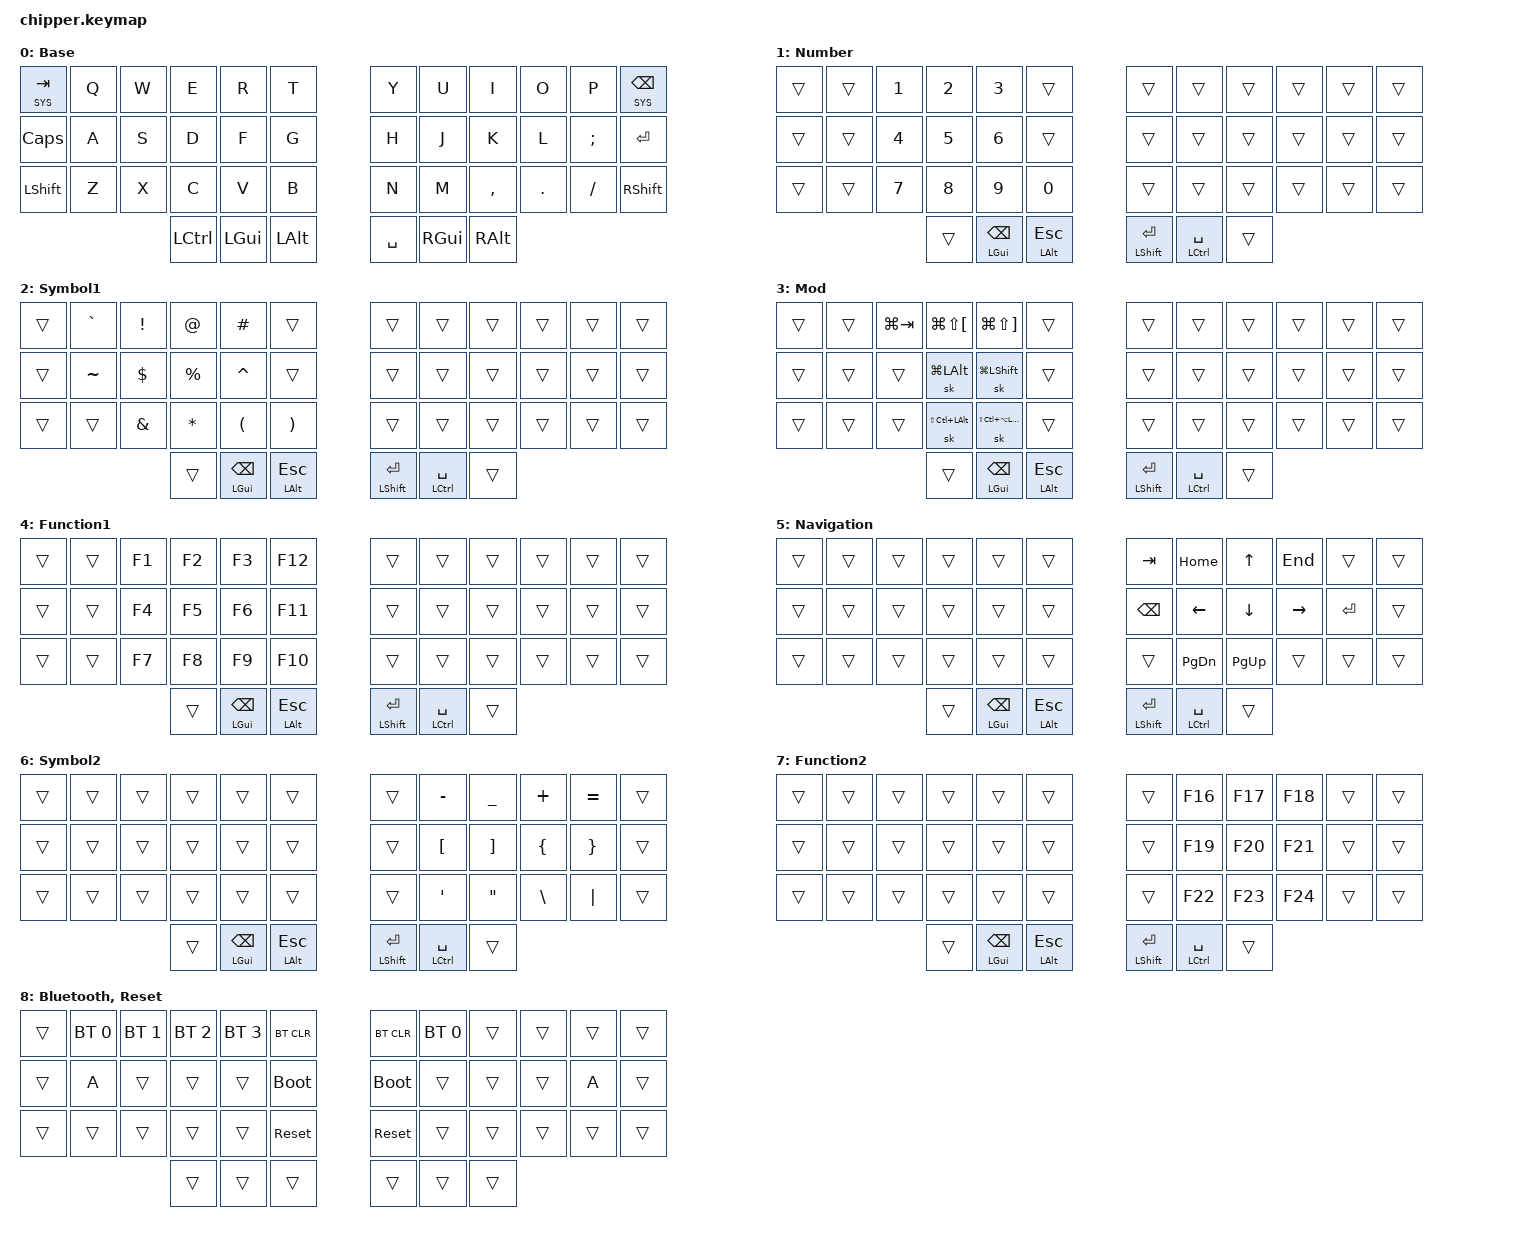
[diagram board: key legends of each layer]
#include <behaviors.dtsi>
#include <dt-bindings/zmk/keys.h>
#include <dt-bindings/zmk/bt.h>
#include <dt-bindings/zmk/outputs.h>

#define XXX &none
#define ___ &trans

#define COMBO_TIMEOUT 60

#define DEF 0
#define NUM 1
#define SYM1 2
#define MOD 3
#define FN1 4
#define NAV 5
#define SYM2 6
#define FN2 7
#define SYS 8

/ {
    macros {
	nayeon: nayeon {
            compatible = "zmk,behavior-macro";
            #binding-cells = <0>;
            bindings
                = <&macro_tap_time 10>
		,<&macro_tap &kp N &kp A &kp Y &kp E &kp O &kp N &kp RET>;
        };
    };
};

/ {
    combos {
        compatible = "zmk,combos";
	 combo_cw {
            timeout-ms = <COMBO_TIMEOUT>;
            key-positions = <6 30>;
            bindings = <&nayeon>;
        };
    };
};

/ {
        bht: balanced_hold_taps {
            compatible = "zmk,behavior-hold-tap";
            #binding-cells = <2>;
            tapping-term-ms = <280>;    // <---[[moderate duration]]
            flavor = "balanced";
            bindings = <&kp>, <&kp>;
            quick-tap-ms = <175>;       // repeat on tap-into-hold
            require-prior-idle-ms = <150>;
        };
    };
/ {
    conditional_layers {
        compatible = "zmk,conditional-layers";
        tri_layer {
            if-layers = <1 5>;
            then-layer = <100>;
        };
    };
};

/ {
        keymap {
                compatible = "zmk,keymap";

                DEF_layer {
                        display-name = "Base";
                        bindings = <
            //╭──────╮ ╭─────────────┬─────────────┬─────────────┬─────────────┬─────────────╮   ╭─────────────┬─────────────┬─────────────┬─────────────┬─────────────╮ ╭──────╮
           &lt SYS TAB     &kp Q         &kp W          &kp E         &kp R         &kp T             &kp Y         &kp U        &kp I         &kp O          &kp P      &lt SYS BSPC
            //├──────┤ ├─────────────┼─────────────┼─────────────┼─────────────┼─────────────┤   ├─────────────┼─────────────┼─────────────┼─────────────┼─────────────┤ ├──────┤
             &kp CAPS      &kp A         &kp S          &kp D         &kp F         &kp G             &kp H         &kp J        &kp K         &kp L        &kp SEMI     &kp RET
            //├──────┤ ├─────────────┼─────────────┼─────────────┼─────────────┼─────────────┤   ├─────────────┼─────────────┼─────────────┼─────────────┼────;/:──────┤ ├──────┤
             &kp LSHFT     &kp Z         &kp X          &kp C         &kp V         &kp B             &kp N         &kp M        &kp COMMA     &kp DOT       &kp FSLH    &kp RSHFT
            //├──────┤ ╰─────────────┼─────────────┴─────────────┼─────────────┼─────────────┤   ├─────────────┼─────────────┼─────,/<─────┴──────./>─────────//?──────╯ ├──────┤
                                                     &kp LCTRL        &kp LGUI     &kp LALT          &kp SPC       &kp RGUI      &kp RALT
             //                                    ╰─────────────┼─────────────┴─────────────╯   ╰─────────────┴─────────────┼─────────────╯
                        >;
                };

//                 DEF_layer {
//                         display-name = "Base";
//                         bindings = <
//             //╭──────╮ ╭─────────────┬─────────────┬─────────────┬─────────────┬─────────────╮   ╭─────────────┬─────────────┬─────────────┬─────────────┬─────────────╮ ╭──────╮
// &bht LS(LC(LALT)) ESC      &kp Q         &kp W          &kp E         &kp R         &kp T             &kp Y         &kp U        &kp I         &kp O        &lt SYS P     &kp DEL
//             //├──────┤ ├─────────────┼─────────────┼─────────────┼─────────────┼─────────────┤   ├─────────────┼─────────────┼─────────────┼─────────────┼─────────────┤ ├──────┤
// &bht LS(LC(LA(LGUI))) TAB &bht LG(A) A   &lt FN2 S     &lt SYM2 D    &lt NAV F      &kp G             &kp H        &lt NUM J    &lt SYM1 K    &lt MOD L    &lt FN1 SEMI  &kp LG(TAB)
//             //├──────┤ ├─────────────┼─────────────┼─────────────┼─────────────┼─────────────┤   ├─────────────┼─────────────┼─────────────┼─────────────┼────;/:──────┤ ├──────┤
// &bht LS(LA(LGUI)) BSPC    &lt SYS Z      &bht LG(X) X  &bht LG(C) C  &bht LG(V) V   &kp B             &kp N         &kp M        &kp COMMA      &kp DOT     &kp FSLH      &kp LC(TAB)
//             //├──────┤ ╰─────────────┼─────────────┴─────────────┼─────────────┼─────────────┤   ├─────────────┼─────────────┼─────,/<─────┴──────./>─────────//?──────╯ ├──────┤
//                                                          ___     &bht LGUI BSPC &bht LALT ESC    &bht LSHFT RET &bht LCTRL SPC      ___
//              //                                    ╰─────────────┼─────────────┴─────────────╯   ╰─────────────┴─────────────┼─────────────╯
//                         >;
//                 };

                NUM_layer {
                        display-name = "Number";
                        bindings = <
//╭──────╮ ╭─────────────┬─────────────┬─────────────┬─────────────┬─────────────╮ ╭─────────────┬─────────────┬─────────────┬─────────────┬─────────────╮ ╭──────╮
    ___          ___        &kp N1        &kp N2        &kp N3          ___            ___         ___           ___           ___          ___              ___
//├──────┤ ├─────────────┼─────────────┼─────────────┼─────────────┼─────────────┤ ├─────────────┼─────────────┼─────────────┼─────────────┼─────────────┤ ├──────┤
    ___          ___        &kp N4        &kp N5        &kp N6          ___            ___         ___           ___           ___          ___              ___
//├──────┤ ├─────────────┼─────────────┼─────────────┼─────────────┼─────────────┤ ├─────────────┼─────────────┼─────────────┼─────────────┼─────────────┤ ├──────┤
    ___          ___        &kp N7        &kp N8        &kp N9         &kp N0         ___         ___           ___           ___          ___              ___
//├──────┤ ├─────────────┼─────────────┼─────────────┴───────────────────────────╯ ╰─────────────┼─────────────┴─────────────┼─────────────┼─────────────┤ ├──────┤
                                             ___     &bht LGUI BSPC &bht LALT ESC    &bht LSHFT RET &bht LCTRL SPC      ___
//                                     ╰─────────────┴─────────────┴─────────────╯ ╰──────────────┴──────────────┼─────────────╯                                     
                        >;
		};


		        SYM1_layer {
                        display-name = "Symbol1";
                        bindings = <
//╭──────╮ ╭─────────────┬─────────────┬─────────────┬─────────────┬─────────────╮ ╭──────────────┬──────────────┬─────────────┬─────────────┬─────────────╮ ╭──────╮           
    ___       &kp GRAVE      &kp EXCL      &kp AT        &kp HASH        ___             ___            ___            ___           ___          ___          ___              
//├──────┤ ├─────`───────┼─────!───────┼──────@──────┼──────#──────┼─────────────┤ ├──────────────┼──────────────┼─────────────┼─────────────┼─────────────┤ ├──────┤           
    ___       &kp TILDE      &kp DLLR      &kp PRCNT     &kp CARET       ___             ___            ___            ___           ___          ___          ___              
//├──────┤ ├─────~───────┼─────$───────┼─────%───────┼──────^──────┼─────────────┤ ├──────────────┼──────────────┼─────────────┼─────────────┼─────────────┤ ├──────┤           
    ___         ___          &kp AMPS      &kp STAR      &kp LPAR      &kp RPAR          ___            ___            ___           ___          ___          ___              
//├──────┤ ╰─────────────┼─────&───────┴─────*───────┼──────(──────┼──────)──────┤ ├──────────────┼──────────────┼─────────────┼─────────────┼─────────────╯ ╰──────╯           
                                             ___     &bht LGUI BSPC &bht LALT ESC    &bht LSHFT RET &bht LCTRL SPC      ___
//                                     ╰─────────────┴─────────────┴─────────────╯ ╰──────────────┴──────────────┼─────────────╯                                     
                        >;
		};


		        MOD_layer {
                        display-name = "Mod";
                        bindings = <
//╭──────╮ ╭─────────────┬─────────────┬─────────────┬─────────────┬─────────────╮ ╭──────────────┬──────────────┬─────────────┬─────────────┬─────────────╮ ╭──────╮
    ___         ___      &kp LG(TAB) &kp LG(LS(LBKT)) &kp LG(LS(RBKT))   ___             ___            ___            ___           ___          ___          ___
//├──────┤ ├─────────────┼──swap win───┼───tab left──┼──tab right──┼─────────────┤ ├──────────────┼──────────────┼─────────────┼─────────────┼─────────────┤ ├──────┤
    ___         ___            ___      &sk LG(LALT)  &sk LG(LSHFT)      ___             ___            ___            ___           ___          ___          ___
//├──────┤ ├─────────────┼─────────────┼─────────────┼─────────────┼─────────────┤ ├──────────────┼──────────────┼─────────────┼─────────────┼─────────────┤ ├──────┤
    ___         ___          ___  &sk LS(LC(LALT)) &sk LS(LC(LA(LGUI)))  ___            ___            ___            ___           ___          ___          ___
//├──────┤ ╰─────────────┼─────────────┴─────────────┼─────────────┼─────────────┤ ├──────────────┼──────────────┼─────────────┼─────────────┼─────────────╯ ╰──────╯
                                             ___     &bht LGUI BSPC &bht LALT ESC    &bht LSHFT RET &bht LCTRL SPC      ___
//                                     ╰─────────────┴─────────────┴─────────────╯ ╰──────────────┴──────────────┼─────────────╯                                     
                        >;
		};


                FN1_layer {
                        display-name = "Function1";
                        bindings = <
//╭──────╮ ╭─────────────┬─────────────┬─────────────┬─────────────┬─────────────╮ ╭─────────────┬─────────────┬─────────────┬─────────────┬─────────────╮ ╭──────╮
    ___          ___        &kp F1        &kp F2        &kp F3         &kp F12         ___         ___           ___           ___          ___              ___
//├──────┤ ├─────────────┼─────────────┼─────────────┼─────────────┼─────────────┤ ├─────────────┼─────────────┼─────────────┼─────────────┼─────────────┤ ├──────┤
    ___          ___        &kp F4        &kp F5        &kp F6         &kp F11         ___         ___           ___           ___          ___              ___
//├──────┤ ├─────────────┼─────────────┼─────────────┼─────────────┼─────────────┤ ├─────────────┼─────────────┼─────────────┼─────────────┼─────────────┤ ├──────┤
    ___          ___        &kp F7        &kp F8        &kp F9         &kp F10         ___         ___           ___           ___          ___              ___
//├──────┤ ├─────────────┼─────────────┼─────────────┴───────────────────────────╯ ╰─────────────┼─────────────┴─────────────┼─────────────┼─────────────┤ ├──────┤
                                             ___     &bht LGUI BSPC &bht LALT ESC    &bht LSHFT RET &bht LCTRL SPC      ___
//                                     ╰─────────────┴─────────────┴─────────────╯ ╰──────────────┴──────────────┼─────────────╯                                     
                        >;
		};


		        NAV_layer {
                        display-name = "Navigation";
                        bindings = <
//╭──────╮ ╭─────────────┬─────────────┬─────────────┬─────────────┬─────────────╮ ╭──────────────┬──────────────┬─────────────┬─────────────┬─────────────╮ ╭──────╮
    ___         ___           ___           ___           ___            ___           &kp TAB       &kp HOME       &kp UP         &kp END        ___          ___
//├──────┤ ├─────────────┼─────────────┼─────────────┼─────────────┼─────────────┤ ├──────────────┼──────────────┼─────────────┼─────────────┼─────────────┤ ├──────┤
    ___         ___           ___           ___           ___            ___           &kp BSPC      &kp LEFT       &kp DOWN       &kp RIGHT    &kp RET        ___
//├──────┤ ├─────────────┼─────────────┼─────────────┼─────────────┼─────────────┤ ├──────────────┼──────────────┼─────────────┼─────────────┼─────────────┤ ├──────┤
    ___         ___           ___           ___           ___            ___             ___         &kp PG_DN      &kp PG_UP       ___           ___          ___
//├──────┤ ╰─────────────┼─────────────┴─────────────┼─────────────┼─────────────┤ ├──────────────┼──────────────┼─────────────┼─────────────┼─────────────╯ ╰──────╯
                                             ___     &bht LGUI BSPC &bht LALT ESC    &bht LSHFT RET &bht LCTRL SPC      ___
//                                     ╰─────────────┴─────────────┴─────────────╯ ╰──────────────┴──────────────┼─────────────╯                                     
                        >;
		};


		        SYM2_layer {
                        display-name = "Symbol2";
                        bindings = <
//╭──────╮ ╭─────────────┬─────────────┬─────────────┬─────────────┬─────────────╮ ╭──────────────┬──────────────┬─────────────┬─────────────┬─────────────╮ ╭──────╮
    ___         ___           ___           ___           ___            ___             ___         &kp MINUS      &kp UNDER     &kp PLUS       &kp EQUAL     ___
//├──────┤ ├─────────────┼─────────────┼─────────────┼─────────────┼─────────────┤ ├──────────────┼──────-───────┼──────_──────┼─────+───────┼───────=─────┤ ├──────┤
    ___         ___           ___           ___           ___            ___             ___         &kp LBKT       &kp RBKT      &kp LBRC       &kp RBRC      ___
//├──────┤ ├─────────────┼─────────────┼─────────────┼─────────────┼─────────────┤ ├──────────────┼──────[───────┼──────]──────┼─────{───────┼───────}─────┤ ├──────┤
    ___         ___           ___           ___           ___            ___             ___         &kp SQT        &kp DQT       &kp BSLH       &kp PIPE      ___
//├──────┤ ╰─────────────┼─────────────┴─────────────┼─────────────┼─────────────┤ ├──────────────┼──────'───────┼──────"──────┼─────\───────┼───────|─────╯ ╰──────╯
                                             ___     &bht LGUI BSPC &bht LALT ESC    &bht LSHFT RET &bht LCTRL SPC      ___
//                                     ╰─────────────┴─────────────┴─────────────╯ ╰──────────────┴──────────────┼─────────────╯                                     
                        >;
		};


                FN2_layer {
                        display-name = "Function2";
                        bindings = <
//╭──────╮ ╭─────────────┬─────────────┬─────────────┬─────────────┬─────────────╮ ╭─────────────┬─────────────┬─────────────┬─────────────┬─────────────╮ ╭──────╮
    ___        ___         ___           ___           ___          ___              ___            &kp F16        &kp F17       &kp F18         ___          ___
//├──────┤ ├─────────────┼─────────────┼─────────────┼─────────────┼─────────────┤ ├─────────────┼─────────────┼─────────────┼─────────────┼─────────────┤ ├──────┤
    ___        ___         ___           ___           ___          ___              ___            &kp F19        &kp F20       &kp F21         ___          ___
//├──────┤ ├─────────────┼─────────────┼─────────────┼─────────────┼─────────────┤ ├─────────────┼─────────────┼─────────────┼─────────────┼─────────────┤ ├──────┤
    ___        ___         ___           ___           ___          ___              ___            &kp F22        &kp F23       &kp F24         ___          ___
//├──────┤ ╰─────────────┼─────────────┴─────────────┼─────────────┼─────────────┤ ├─────────────┼─────────────┼─────────────┴───────────────────────────╯ ├──────┤
                                             ___     &bht LGUI BSPC &bht LALT ESC    &bht LSHFT RET &bht LCTRL SPC      ___
//                                     ╰─────────────┴─────────────┴─────────────╯ ╰──────────────┴──────────────┼─────────────╯                                     
                        >;
		};


            SYS_layer {
                        display-name = "Bluetooth, Reset";
                        bindings = <
//╭──────╮ ╭─────────────┬─────────────┬─────────────┬─────────────┬─────────────╮ ╭─────────────┬─────────────┬─────────────┬─────────────┬─────────────╮ ╭──────╮
    ___    &bt BT_SEL 0   &bt BT_SEL 1  &bt BT_SEL 2  &bt BT_SEL 3   &bt BT_CLR       &bt BT_CLR    &bt BT_SEL 0  ___           ___           ___             ___
//├──────┤ ├─────────────┼─────────────┼─────────────┼─────────────┼─────────────┤ ├─────────────┼─────────────┼─────────────┼─────────────┼─────────────┤ ├──────┤
    ___     &kp A         ___           ___           ___            &bootloader      &bootloader   ___           ___           ___           &kp A           ___
//├──────┤ ├─────────────┼─────────────┼─────────────┼─────────────┼─────────────┤ ├─────────────┼─────────────┼─────────────┼─────────────┼─────────────┤ ├──────┤
    ___     ___           ___           ___           ___            &sys_reset       &sys_reset    ___           ___           ___           ___             ___
//├──────┤ ╰─────────────┼─────────────┴─────────────┼─────────────┼─────────────┤ ├─────────────┼─────────────┼─────────────┴───────────────────────────╯ ├──────┤
    ___                                                ___           ___              ___           ___                                                       ___
//╰──────╯                                           ╰─────────────┴─────────────╯ ╰─────────────┴─────────────╯                                           ╰──────╯
                        >;
		};

        };
};
